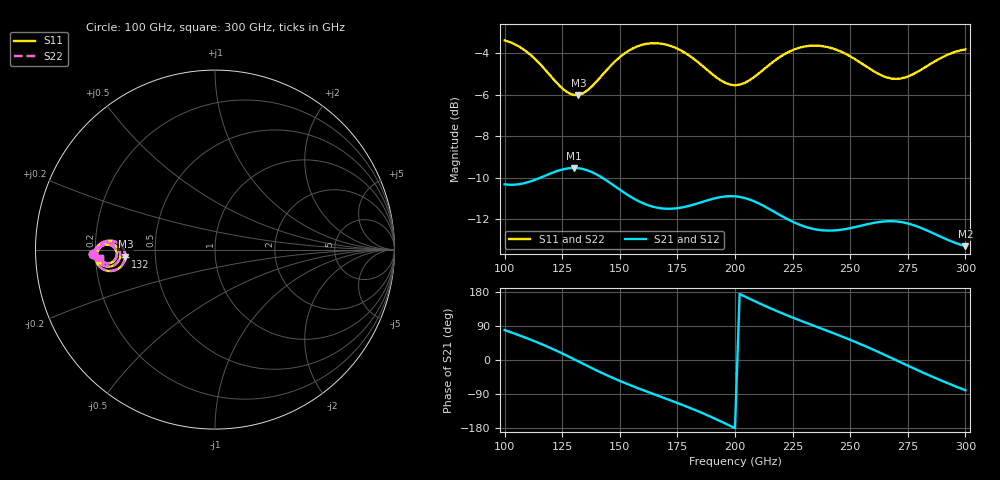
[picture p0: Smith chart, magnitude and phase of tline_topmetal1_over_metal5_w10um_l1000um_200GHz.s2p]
#  GHZ S DB R 50
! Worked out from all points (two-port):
!   101 points, 100 GHz to 300 GHz, reference 50 ohm
!   highest |S21| = -9.53 dB at 130 GHz (marker M1); lowest = -13.3 dB at 300 GHz (marker M2)
!   |S21| within 3 dB of the highest: start of sweep to 237.2 GHz; 244.6 GHz to 283 GHz (38.38 GHz wide, 14.5 % of centre)
!   lowest |S11| = -6.0 dB at 132 GHz (marker M3), VSWR 3.01, Z = 16.7 - j1.74 ohm
!   |S11| at or under -10 dB: nowhere
!   |S22| runs from -6.0 to -3.4 dB; largest |S21 - S12| = 5.4e-14
!   S11 on the Smith chart (normalised r, x): 100 GHz: 0.19, -0.02; 132 GHz: 0.33, -0.03; 300 GHz: 0.22, -0.04
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100  -3.38 -177.9  -10.32 79.0  -10.32 79.0  -3.37 -177.9
116  -4.59 175.1  -9.98 42.0  -9.98 42.0  -4.58 175.2
124  -5.58 177.2  -9.63 20.2  -9.63 20.2  -5.57 177.2
130  -6.01 -177.6  -9.53 2.4  -9.53 2.4  -5.99 -177.6
132  -6.01 -175.5  -9.54 -3.7  -9.54 -3.7  -5.99 -175.5
134  -5.93 -173.5  -9.58 -9.7  -9.58 -9.7  -5.91 -173.5
142  -5.09 -168.6  -9.97 -33.5  -9.97 -33.5  -5.08 -168.6
150  -4.18 -169.2  -10.58 -55.2  -10.58 -55.2  -4.17 -169.2
160  -3.58 -173.7  -11.23 -79.3  -11.23 -79.3  -3.57 -173.7
168  -3.53 -177.9  -11.48 -97.5  -11.48 -97.5  -3.53 -177.9
184  -4.43 176.5  -11.23 -135.4  -11.23 -135.4  -4.42 176.5
192  -5.16 177.8  -10.97 -156.8  -10.97 -156.8  -5.15 177.8
200  -5.54 -177.1  -10.90 -179.9  -10.90 -179.9  -5.52 -177.2
208  -5.17 -172.1  -11.12 156.8  -11.12 156.8  -5.16 -172.3
216  -4.45 -170.8  -11.58 134.8  -11.58 134.8  -4.45 -171.0
224  -3.89 -172.7  -12.07 114.5  -12.07 114.5  -3.89 -172.8
234  -3.62 -176.7  -12.47 90.9  -12.47 90.9  -3.62 -176.8
252  -4.27 177.5  -12.38 48.2  -12.38 48.2  -4.27 177.4
268  -5.22 -178.6  -12.10 5.0  -12.10 5.0  -5.21 -178.7
276  -5.07 -174.5  -12.24 -17.7  -12.24 -17.7  -5.07 -174.7
284  -4.57 -172.6  -12.58 -39.7  -12.58 -39.7  -4.57 -172.8
300  -3.81 -175.7  -13.30 -79.8  -13.30 -79.8  -3.81 -176.0
